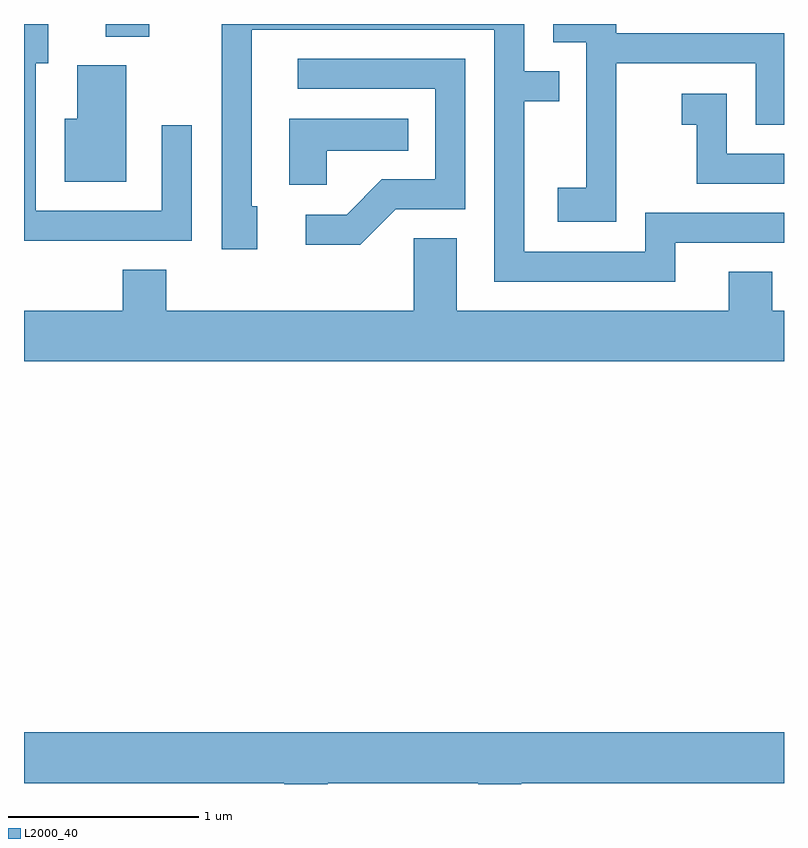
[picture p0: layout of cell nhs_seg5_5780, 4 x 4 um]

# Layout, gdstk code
import gdstk
lib = gdstk.Library(unit=1e-6, precision=1e-09)
def R(c, l, rs):  # rectangles x0, y0, x1, y1
    for r in rs: c.add(gdstk.rectangle(r[:2], r[2:], *l))
def P(c, l, *ps):  # polygons
    for p in ps: c.add(gdstk.Polygon(p, *l))
L2000_40 = (2000, 40)

nhs_seg5_5780 = lib.new_cell('nhs_seg5_5780')
R(nhs_seg5_5780, L2000_40, [(356.041,1514.006,356.269,1514.072)])
P(nhs_seg5_5780, L2000_40, [(356.494,1513.538),(356.336,1513.538),(356.336,1513.089),(355.674,1513.089),(355.674,1513.866),(355.739,1513.866),(355.739,1514.072),(355.611,1514.072),(355.611,1512.931),(356.494,1512.931)],
  [(359.039,1512.921),(359.611,1512.921),(359.611,1513.079),(358.881,1513.079),(358.881,1512.874),(358.244,1512.874),(358.244,1513.666),(358.428,1513.666),(358.428,1513.824),(358.244,1513.824),(358.244,1514.072),(356.651,1514.072),(356.651,1512.886),(356.839,1512.886),(356.839,1513.114),(356.809,1513.114),(356.809,1514.041),(358.086,1514.041),(358.086,1512.716),(359.039,1512.716)],
  [(358.729,1513.866),(359.461,1513.866),(359.461,1513.541),(359.611,1513.541),(359.611,1514.024),(358.729,1514.024),(358.729,1514.072),(358.396,1514.072),(358.396,1513.976),(358.571,1513.976),(358.571,1513.209),(358.421,1513.209),(358.421,1513.031),(358.729,1513.031)],
  [(357.567,1513.096),(357.934,1513.096),(357.934,1513.889),(357.053,1513.889),(357.053,1513.731),(357.776,1513.731),(357.776,1513.254),(357.494,1513.254),(357.309,1513.069),(357.093,1513.069),(357.093,1512.911),(357.382,1512.911)],
  [(356.149,1513.854),(355.891,1513.854),(355.891,1513.574),(355.826,1513.574),(355.826,1513.241),(356.149,1513.241)],
  [(359.611,1513.389),(359.309,1513.389),(359.309,1513.704),(359.073,1513.704),(359.073,1513.541),(359.151,1513.541),(359.151,1513.231),(359.611,1513.231)],
  [(357.204,1513.406),(357.633,1513.406),(357.633,1513.574),(357.006,1513.574),(357.006,1513.226),(357.204,1513.226)],
  [(359.611,1512.564),(359.549,1512.564),(359.549,1512.769),(359.321,1512.769),(359.321,1512.564),(357.889,1512.564),(357.889,1512.944),(357.661,1512.944),(357.661,1512.564),(356.359,1512.564),(356.359,1512.779),(356.131,1512.779),(356.131,1512.564),(355.611,1512.564),(355.611,1512.296),(359.611,1512.296)],
  [(357.209,1510.076),(358.001,1510.076),(358.001,1510.072),(358.229,1510.072),(358.229,1510.076),(359.611,1510.076),(359.611,1510.344),(355.611,1510.344),(355.611,1510.076),(356.981,1510.076),(356.981,1510.072),(357.209,1510.072)])

lib.write_gds('nhs_seg5_5780.gds')
